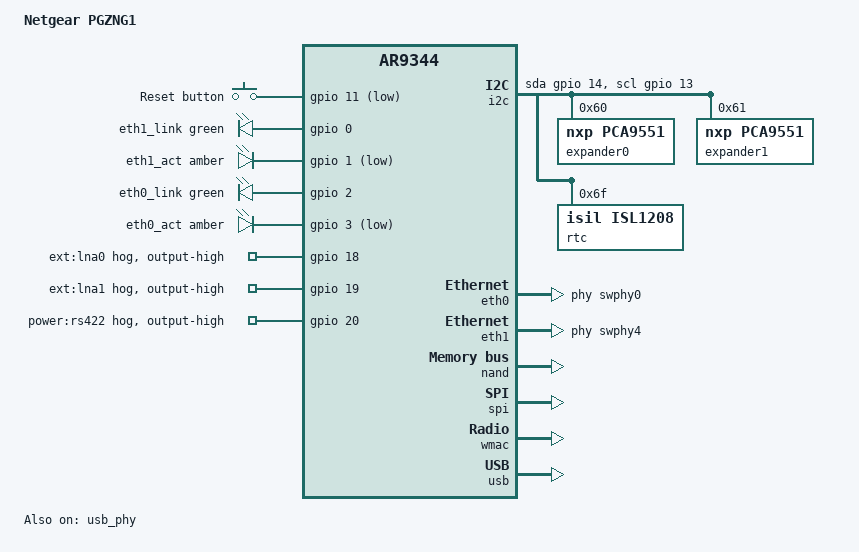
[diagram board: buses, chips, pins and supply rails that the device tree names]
// SPDX-License-Identifier: GPL-2.0-only

#include "ar9344.dtsi"

#include <dt-bindings/gpio/gpio.h>
#include <dt-bindings/input/input.h>
#include <dt-bindings/leds/common.h>
#include <dt-bindings/leds/leds-pca955x.h>

/ {
	model = "Netgear PGZNG1";
	compatible = "netgear,pgzng1", "qca,ar9344";

	aliases {
		led-boot = &led_power_green;
		led-failsafe = &led_power_red;
		led-running = &led_power_green;
		led-upgrade = &led_power_green;
		label-mac-device = &eth0;
	};

	chosen {
		bootargs = "console=ttyS0,115200";
	};

	keys {
		compatible = "gpio-keys";

		reset {
			label = "Reset button";
			linux,code = <KEY_RESTART>;
			gpios = <&gpio 11 GPIO_ACTIVE_LOW>;
			debounce-interval = <60>;
		};
	};

	i2c {
		compatible = "i2c-gpio";
		sda-gpios = <&gpio 14 (GPIO_ACTIVE_HIGH|GPIO_OPEN_DRAIN)>;
		scl-gpios = <&gpio 13 (GPIO_ACTIVE_HIGH|GPIO_OPEN_DRAIN)>;
		#address-cells = <1>;
		#size-cells = <0>;

		expander0: pca9551@60 {
			compatible = "nxp,pca9551";
			reg = <0x60>;
			#address-cells = <1>;
			#size-cells = <0>;

			led_power_green: led@0 {
				reg = <0>;
				color = <LED_COLOR_ID_GREEN>;
				function = LED_FUNCTION_BOOT;
				type = <PCA955X_TYPE_LED>;
				chan-name = "green:boot";
			};

			led_power_red: led@1 {
				reg = <1>;
				color = <LED_COLOR_ID_RED>;
				function = LED_FUNCTION_BOOT;
				type = <PCA955X_TYPE_LED>;
				chan-name = "red:boot";
			};

			led@2 {
				reg = <2>;
				color = <LED_COLOR_ID_GREEN>;
				function = LED_FUNCTION_WAN;
				function-enumerator = <1>;
				type = <PCA955X_TYPE_LED>;
			};

			led@3 {
				reg = <3>;
				color = <LED_COLOR_ID_RED>;
				function = LED_FUNCTION_WAN;
				type = <PCA955X_TYPE_LED>;
			};

			led@4 {
				reg = <4>;
				color = <LED_COLOR_ID_GREEN>;
				function = LED_FUNCTION_WLAN;
				type = <PCA955X_TYPE_LED>;
			};

			led@5 {
				reg = <5>;
				color = <LED_COLOR_ID_RED>;
				function = LED_FUNCTION_WLAN;
				type = <PCA955X_TYPE_LED>;
			};

			led@6 {
				reg = <6>;
				color = <LED_COLOR_ID_GREEN>;
				function = LED_FUNCTION_INDICATOR;
				type = <PCA955X_TYPE_LED>;
			};

			led@7 {
				reg = <7>;
				color = <LED_COLOR_ID_RED>;
				function = LED_FUNCTION_INDICATOR;
				type = <PCA955X_TYPE_LED>;
			};
		};

		expander1: pca9551@61 {
			compatible = "nxp,pca9551";
			reg = <0x61>;
			#address-cells = <1>;
			#size-cells = <0>;

			gpio-controller;
			#gpio-cells = <2>;

			/* zwave_rst - Resets ZWave */
			gpio@4 {
				reg = <4>;
				type = <PCA955X_TYPE_GPIO>;
			};

			/* em_rst - Unknown */
			gpio@5 {
				reg = <5>;
				type = <PCA955X_TYPE_GPIO>;
			};

			/* tp34 - Test point on PCB? */
			gpio@6 {
				reg = <6>;
				type = <PCA955X_TYPE_GPIO>;
			};

			/* sw_rst - resets SoC */
			gpio@7 {
				reg = <7>;
				type = <PCA955X_TYPE_GPIO>;
			};
		};

		rtc@6f {
			compatible = "isil,isl1208";
			reg = <0x6f>;
		};
	};

	leds {
		compatible = "gpio-leds";

		eth1_link {
			color = <LED_COLOR_ID_GREEN>;
			function = LED_FUNCTION_LAN;
			gpios = <&gpio 0 GPIO_ACTIVE_HIGH>;
		};

		eth1_act {
			color = <LED_COLOR_ID_AMBER>;
			function = LED_FUNCTION_LAN;
			gpios = <&gpio 1 GPIO_ACTIVE_LOW>;
		};

		eth0_link {
			color = <LED_COLOR_ID_GREEN>;
			function = LED_FUNCTION_WAN;
			function-enumerator = <0>;
			gpios = <&gpio 2 GPIO_ACTIVE_HIGH>;
		};

		eth0_act {
			color = <LED_COLOR_ID_AMBER>;
			function = LED_FUNCTION_WAN;
			gpios = <&gpio 3 GPIO_ACTIVE_LOW>;
		};
	};
};

&eth0 {
	status = "okay";
	phy-handle = <&swphy0>;

	nvmem-cells = <&macaddr_caldata_6>;
	nvmem-cell-names = "mac-address";
};

&eth1 {
	status = "okay";
	phy-handle = <&swphy4>;

	nvmem-cells = <&macaddr_caldata_0>;
	nvmem-cell-names = "mac-address";

	gmac-config {
		device = <&gmac>;
		switch-phy-swap = <1>;
		switch-only-mode = <1>;
	};
};

&gpio {
	gpio_ext_lna0 {
		gpio-hog;
		line-name = "ext:lna0";
		gpios = <18 GPIO_ACTIVE_HIGH>;
		output-high;
	};

	gpio_ext_lna1 {
		gpio-hog;
		line-name = "ext:lna1";
		gpios = <19 GPIO_ACTIVE_HIGH>;
		output-high;
	};

	gpio_enable_rs422 {
		gpio-hog;
		line-name = "power:rs422";
		gpios = <20 GPIO_ACTIVE_HIGH>;
		output-high;
	};
};

&nand {
	status = "okay";

	partitions {
		compatible = "fixed-partitions";
		#address-cells = <1>;
		#size-cells = <1>;

		partition@0 {
			label = "u-boot";
			reg = <0x0 0x40000>;
			read-only;
		};

		partition@40000 {
			label = "u-boot-env";
			reg = <0x40000 0x40000>;
			read-only;
		};

		/* factory kernel used to be reg = <0x80000 0x200000> */
		partition@80000 {
			label = "kernel";
			reg = <0x80000 0x500000>;
		};

		/* factory rootfs used to be reg = <0x280000 0x5000000> */
		partition@580000 {
			label = "ubi";
			reg = <0x580000 0x4d00000>;
		};

		partition@5280000 {
			label = "uImage2";
			reg = <0x5280000 0x200000>;
			read-only;
		};

		partition@5480000 {
			label = "rootfs_bak";
			reg = <0x5480000 0x5000000>;
			read-only;
		};

		partition@a480000 {
			label = "config";
			reg = <0xa480000 0x1400000>;
			read-only;
		};

		partition@b880000 {
			label = "storage";
			reg = <0xb880000 0x4700000>;
			read-only;
		};

		partition@ff80000 {
			label = "dummy";
			reg = <0xff80000 0x60000>;
			read-only;
		};

		caldata: partition@ffe0000 {
			label = "caldata";
			reg = <0xffe0000 0x20000>;
			read-only;

			compatible = "nvmem-cells";
			#address-cells = <1>;
			#size-cells = <1>;

			macaddr_caldata_0: macaddr@0 {
				reg = <0x0 0x6>;
			};

			macaddr_caldata_6: macaddr@6 {
				reg = <0x6 0x6>;
			};

			cal_caldata_1000: cal@1000 {
				reg = <0x1000 0x440>;
			};
		};
	};
};

&ref {
	clock-frequency = <40000000>;
};

/* zWave is wired up via SPI and UART1 (no idea on pins sadly) */
&spi {
	status = "okay";
};

&wmac {
	status = "okay";

	nvmem-cells = <&cal_caldata_1000>;
	nvmem-cell-names = "calibration";
};

&usb {
	status = "okay";
};

&usb_phy {
	status = "okay";
};
